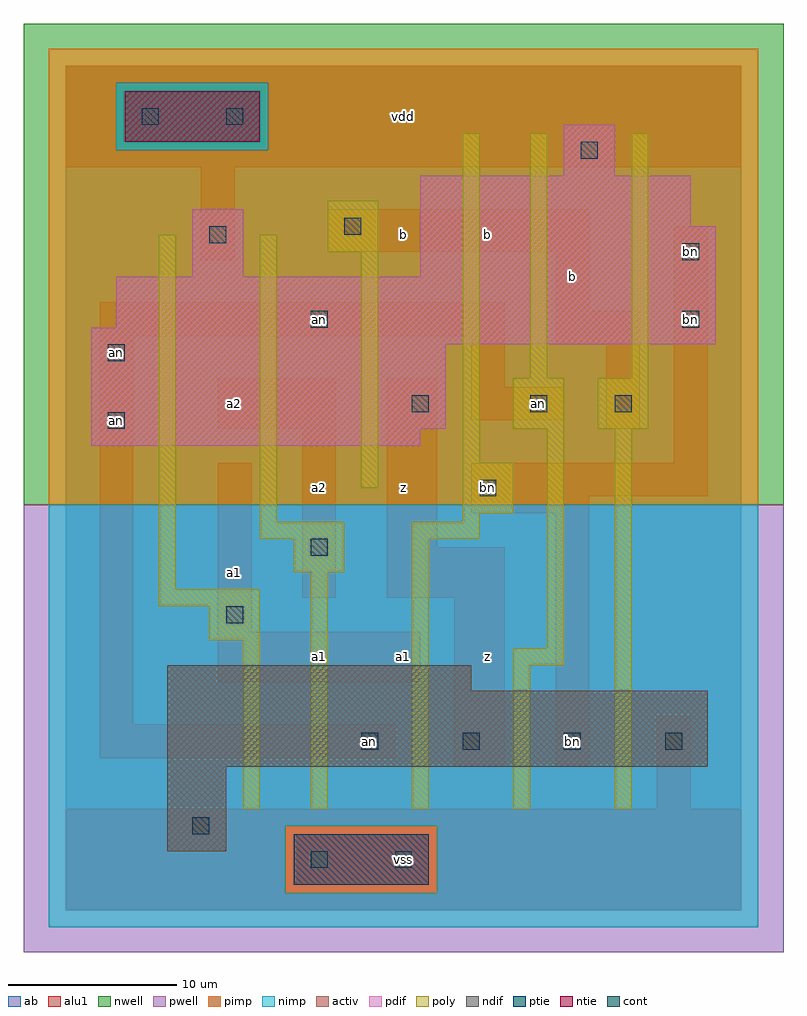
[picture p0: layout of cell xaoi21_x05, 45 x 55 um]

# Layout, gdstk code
import gdstk
lib = gdstk.Library(unit=1e-6, precision=1e-09)
def R(c, l, rs):  # rectangles x0, y0, x1, y1
    for r in rs: c.add(gdstk.rectangle(r[:2], r[2:], *l))
def A(c, l, x, y, w, h, nx, ny, dx, dy):  # array of equal rectangles
    R(c, l, [(x+i*dx, y+j*dy, x+i*dx+w, y+j*dy+h) for i in range(nx) for j in range(ny)])
ndif = (3, 0)
pdif = (4, 0)
ntie = (5, 0)
ptie = (6, 0)
cont = (25, 0)
pwell = (41, 0)
nwell = (42, 0)
activ = (43, 0)
pimp = (44, 0)
nimp = (45, 0)
poly = (46, 0)
alu1 = (49, 0)
ab = (63, 0)

xaoi21_x05 = lib.new_cell('xaoi21_x05')
R(xaoi21_x05, ndif, [(6,3.5,9.5,8.5), (6,8.5,38,13), (6,13,24,14.5)])
R(xaoi21_x05, pdif, [(1.5,27.5,21,28.5), (1.5,28.5,22.5,33.5), (1.5,33.5,38.5,34.5), (3,34.5,38.5,37.5), (7.5,37.5,10.5,41.5), (21,37.5,38.5,40.5), (21,40.5,37,43.5), (29.5,43.5,32.5,46.5)])
R(xaoi21_x05, ntie, [(3.5,45.5,11.5,48.5)])
R(xaoi21_x05, ptie, [(13.5,1.5,21.5,4.5)])
A(xaoi21_x05, cont, 17.5, 9.5, 1, 1, 4, 1, 6, 0)
R(xaoi21_x05, cont, [(14.5,2.5,15.5,3.5), (19.5,2.5,20.5,3.5), (7.5,4.5,8.5,5.5), (9.5,17,10.5,18), (14.5,21,15.5,22), (24.5,24.5,25.5,25.5), (2.5,28.5,3.5,29.5), (20.5,29.5,21.5,30.5), (27.5,29.5,28.5,30.5), (32.5,29.5,33.5,30.5), (2.5,32.5,3.5,33.5), (14.5,34.5,15.5,35.5), (36.5,34.5,37.5,35.5), (36.5,38.5,37.5,39.5), (8.5,39.5,9.5,40.5), (16.5,40,17.5,41), (30.5,44.5,31.5,45.5), (4.5,46.5,5.5,47.5), (9.5,46.5,10.5,47.5)])
R(xaoi21_x05, pwell, [(-2.5,-2.5,42.5,24)])
R(xaoi21_x05, nwell, [(-2.5,24,42.5,52.5)])
R(xaoi21_x05, activ, [(13.5,1.5,21.5,4.5), (6,3.5,9.5,8.5), (6,8.5,38,13), (6,13,24,14.5), (1.5,27.5,21,28.5), (1.5,28.5,22.5,33.5), (1.5,33.5,38.5,34.5), (3,34.5,38.5,37.5), (7.5,37.5,10.5,41.5), (21,37.5,38.5,40.5), (21,40.5,37,43.5), (29.5,43.5,32.5,46.5), (3.5,45.5,11.5,48.5)])
R(xaoi21_x05, pimp, [(13,1,22,5), (-1,24,41,45), (-1,45,3,49), (12,45,41,49), (-1,49,41,51)])
R(xaoi21_x05, nimp, [(-1,-1,41,1), (-1,1,13,5), (22,1,41,5), (-1,5,41,24), (3,45,12,49)])
R(xaoi21_x05, poly, [(10.5,6,11.5,16), (14.5,6,15.5,20), (20.5,6,21.5,22), (26.5,6,27.5,14.5), (32.5,6,33.5,28.5), (26.5,14.5,29.5,15.5), (28.5,15.5,29.5,28.5), (8.5,16,11.5,18), (5.5,18,11.5,19), (5.5,19,6.5,40), (13.5,20,16.5,22), (11.5,22,16.5,23), (20.5,22,24.5,23), (11.5,23,12.5,40), (23.5,23,24.5,23.5), (23.5,23.5,26.5,26.5), (17.5,25,18.5,39), (23.5,26.5,24.5,46), (26.5,28.5,29.5,31.5), (31.5,28.5,34.5,31.5), (27.5,31.5,28.5,46), (33.5,31.5,34.5,46), (15.5,39,18.5,42)])
R(xaoi21_x05, alu1, [(0,0,40,6), (0,0,40,6), (35,6,37,11.5), (35,6,37,11.5), (23,8.5,26,18.5), (23,8.5,26,18.5), (29,8.5,31,23.5), (29,8.5,31,23.5), (2,9,19.5,11), (2,9,19.5,11), (2,11,4,34), (2,11,4,34), (9,13.5,21,16.5), (9,13.5,21,16.5), (9,16.5,11,26.5), (9,16.5,11,26.5), (14,18.5,16,28.5), (14,18.5,16,28.5), (19,18.5,26,21.5), (19,18.5,26,21.5), (19,21.5,22,31.5), (19,21.5,22,31.5), (24,23.5,31,24.5), (24,23.5,31,24.5), (24,24.5,38,26.5), (24,24.5,38,26.5), (36,26.5,38,40.5), (36,26.5,38,40.5), (9,28.5,16,31.5), (9,28.5,16,31.5), (32,28.5,34,33.5), (32,28.5,34,33.5), (24,29,29.5,31), (24,29,29.5,31), (24,31,26,34), (24,31,26,34), (29,33.5,34,35.5), (29,33.5,34,35.5), (2,34,26,36), (2,34,26,36), (29,35.5,31,39), (29,35.5,31,39), (8,38.5,10,44), (8,38.5,10,44), (15.5,39,31,41.5), (15.5,39,31,41.5), (0,44,40,50), (0,44,40,50)])
R(xaoi21_x05, ab, [(0,0,40,50)])
xaoi21_x05.add(gdstk.Label('an', (3,33), layer=49, texttype=0))
xaoi21_x05.add(gdstk.Label('an', (3,29), layer=49, texttype=0))
xaoi21_x05.add(gdstk.Label('an', (18,10), layer=49, texttype=0))
xaoi21_x05.add(gdstk.Label('an', (15,35), layer=49, texttype=0))
xaoi21_x05.add(gdstk.Label('bn', (25,25), layer=49, texttype=0))
xaoi21_x05.add(gdstk.Label('an', (28,30), layer=49, texttype=0))
xaoi21_x05.add(gdstk.Label('bn', (30,10), layer=49, texttype=0))
xaoi21_x05.add(gdstk.Label('bn', (37,35), layer=49, texttype=0))
xaoi21_x05.add(gdstk.Label('bn', (37,39), layer=49, texttype=0))
xaoi21_x05.add(gdstk.Label('a1', (10,20), layer=49, texttype=0))
xaoi21_x05.add(gdstk.Label('a1', (15,15), layer=49, texttype=0))
xaoi21_x05.add(gdstk.Label('a2', (15,25), layer=49, texttype=0))
xaoi21_x05.add(gdstk.Label('a2', (10,30), layer=49, texttype=0))
xaoi21_x05.add(gdstk.Label('vss', (20,3), layer=49, texttype=0))
xaoi21_x05.add(gdstk.Label('a1', (20,15), layer=49, texttype=0))
xaoi21_x05.add(gdstk.Label('z', (25,15), layer=49, texttype=0))
xaoi21_x05.add(gdstk.Label('z', (20,25), layer=49, texttype=0))
xaoi21_x05.add(gdstk.Label('b', (20,40), layer=49, texttype=0))
xaoi21_x05.add(gdstk.Label('vdd', (20,47), layer=49, texttype=0))
xaoi21_x05.add(gdstk.Label('b', (25,40), layer=49, texttype=0))
xaoi21_x05.add(gdstk.Label('b', (30,37.5), layer=49, texttype=0))

lib.write_gds('xaoi21_x05.gds')
